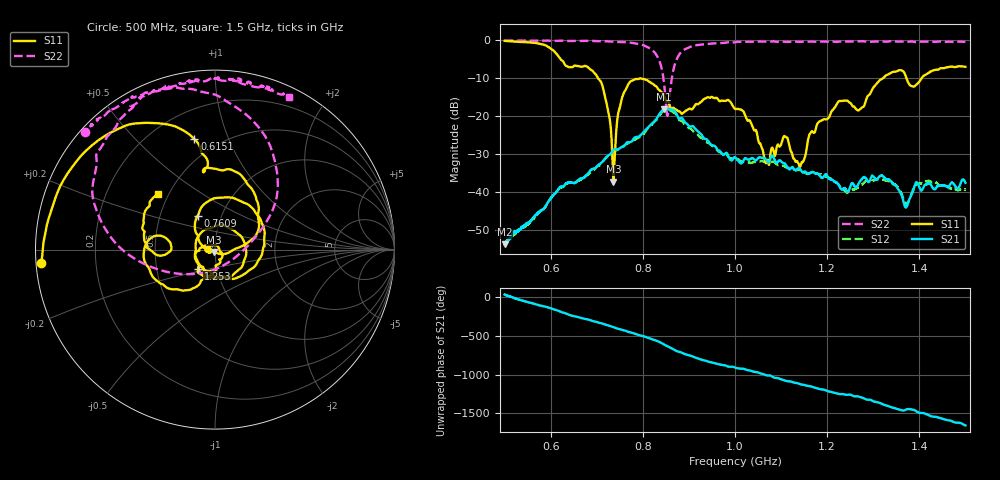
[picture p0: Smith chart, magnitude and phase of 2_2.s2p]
!Agilent Technologies,E8364B,US42250235,A.06.04.32
!Agilent E8364B: A.06.04.32
!Date: Thursday, October 01, 2020 11:01:22
!Correction: S11(Full 2 Port(1,2)) S21(Full 2 Port(1,2)) S12(Full 2 Port(1,2)) S22(Full 2 Port(1,2))
!S2P File: Measurements: S11, S21, S12, S22:
# Hz S  dB  R 50
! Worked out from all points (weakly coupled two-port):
!   2650 points, 500 MHz to 1.5 GHz, reference 50 ohm
!   highest |S21| = -18.26 dB at 845.8 MHz (marker M1); lowest = -53.8 dB at 500 MHz (marker M2)
!   lowest |S11| = -37.3 dB at 735.9 MHz (marker M3), VSWR 1.03, Z = 49.5 - j1.24 ohm
!   |S11| at or under -10 dB: 702.2 MHz to 1.322 GHz (619.7 MHz wide, 61.2 % of centre); 1.372 GHz to 1.405 GHz (33.59 MHz wide, 2.42 % of centre)
!   |S22| runs from -20.0 to -0.2 dB; largest |S21 - S12| = 0.011
!   S11 on the Smith chart (normalised r, x): 500 MHz: 0.02, -0.04; 615.1 MHz: 0.37, +0.76; 760.9 MHz: 0.77, +0.30; 1.253 GHz: 0.81, -0.18; 1.5 GHz: 0.44, +0.34
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5e8  -0.26 -175.6  -53.76 28.2  -54.27 22.1  -0.21 137.9
5.615327e8  -0.76 148.2  -46.95 -86.4  -47.09 -86.2  -0.24 133.8
6.151378e8  -4.06 100.6  -39.63 -177.3  -39.55 -177.3  -0.25 127.2
6.668554e8  -7.06 85.9  -36.48 85.4  -36.85 85.9  -0.28 119.5
7.114005e8  -11.75 22.8  -32.17 16.3  -32.25 20.4  -0.40 116.1
7.359381e8  -37.33 -112.9  -28.91 -29.3  -29.49 -27.0  -0.48 111.5
7.608532e8  -13.47 117.2  -27.73 -74.7  -27.69 -74.1  -0.62 104.7
8.337108e8  -13.04 -30.9  -19.95 145.2  -20.43 146.8  -4.95 52.8
8.457909e8  -14.62 -61.8  -18.26 107.0  -18.70 109.1  -11.19 22.8
8.544734e8  -16.21 -84.6  -18.30 80.7  -18.68 83.2  -19.43 -85.5
8.854285e8  -19.42 178.2  -20.64 -2.3  -21.46 -1.0  -2.96 160.0
9.390336e8  -15.20 -1.5  -26.21 -107.9  -27.02 -100.2  -1.14 129.2
1.000189e9  -18.16 -136.7  -30.87 170.0  -30.97 173.6  -0.64 117.3
1.069649e9  -31.70 -173.1  -31.88 68.8  -32.23 75.4  -0.50 109.6
1.108909e9  -25.44 173.2  -32.66 1.9  -33.39 12.5  -0.51 105.9
1.143262e9  -32.69 16.1  -34.34 -47.7  -34.47 -38.8  -0.51 99.7
1.166667e9  -24.06 -59.5  -34.79 -75.9  -35.00 -70.0  -0.44 99.2
1.252737e9  -16.98 -131.7  -37.83 175.7  -39.58 179.3  -0.43 90.2
1.333522e9  -9.02 -147.2  -36.70 32.7  -37.13 50.1  -0.40 81.2
1.370895e9  -9.67 166.2  -43.99 -10.7  -42.98 2.9  -0.58 80.3
1.393545e9  -11.76 -176.6  -37.50 -32.1  -38.05 -12.3  -0.60 76.2
1.5e9  -7.10 135.6  -37.59 146.0  -39.48 161.3  -0.50 63.9
